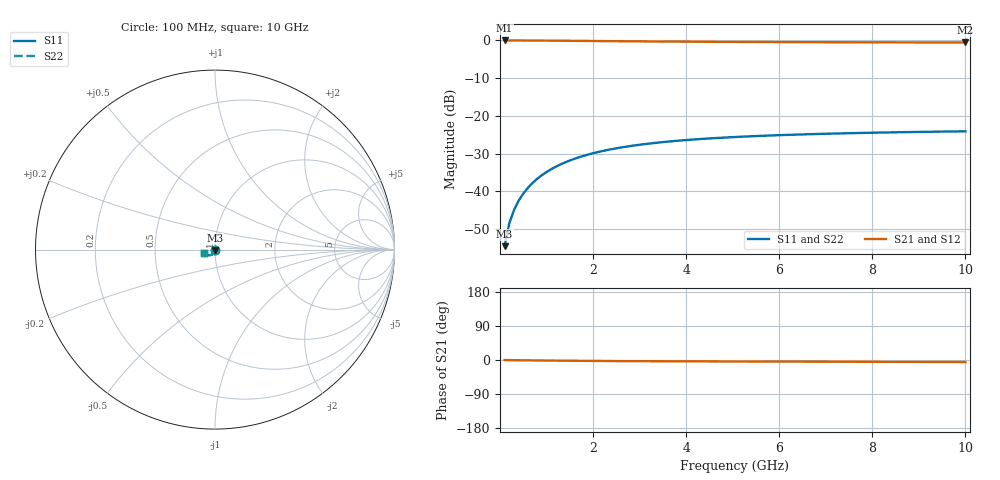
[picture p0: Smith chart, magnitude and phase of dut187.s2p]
! Touchstone file exported from HFSS 2024.1.0
!  File:  C:/UserFiles/LocalFiles/RDL_TSV_Batchsim/temp_TSV1_187_1779384571.aedt
!  Generated:  01:35:00 AM May 22, 2026
!  Design:  TSV1
!  Project:  temp_TSV1_187_1779384571
!  Setup:  Setup1
!  Solution:  Sweep
! Variables:
!  dtsv = 14.64um
!  hbump = 3um
!  htsv = 80.87um
!  lrdl = 252.1521522um
!  p = 40
!  p1 = 51.84um
!  t = 500um
!  trdl = 3um
!  wrdl = 24.89489489um
# GHz S MA R 50.000000
! Terminal data exported
! Port[1] = TSV22_T1
! Port[2] = TSV22_T2
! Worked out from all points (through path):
!   100 points, 100 MHz to 10 GHz, reference 50 ohm
!   highest |S21| = 0.00 dB at 100 MHz (marker M1); lowest = -0.5 dB at 10 GHz (marker M2)
!   lowest |S11| = -54.5 dB at 100 MHz (marker M3), VSWR 1.00, Z = 50 - j0.188 ohm
!   |S11| at or under -10 dB: start of sweep to end of sweep
!   |S22| runs from -54.5 to -24.1 dB; largest |S21 - S12| = 5.1e-15
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0.1  0.001875 -89.3  0.9999 -0.2  0.9999 -0.2  0.001875 -89.3
! Gamma 0 0 0 0
! Port Impedance 50 0 50 0
0.2  0.00375 -92.1  0.9997 -0.3  0.9997 -0.3  0.00375 -92.1
0.3  0.005622 -94.3  0.9993 -0.5  0.9993 -0.5  0.005622 -94.3
0.4  0.007481 -96.3  0.9989 -0.6  0.9989 -0.6  0.007481 -96.3
0.5  0.00932 -98.2  0.9984 -0.7  0.9984 -0.7  0.00932 -98.2
0.6  0.01113 -100.0  0.9978 -0.9  0.9978 -0.9  0.01113 -100.0
0.7  0.01291 -101.8  0.9971 -1.0  0.9971 -1.0  0.01291 -101.8
0.8  0.01465 -103.6  0.9963 -1.2  0.9963 -1.2  0.01465 -103.6
0.9  0.01636 -105.3  0.9954 -1.3  0.9954 -1.3  0.01636 -105.3
1.1  0.01963 -108.6  0.9935 -1.5  0.9935 -1.5  0.01963 -108.6
1.4  0.02419 -113.3  0.9903 -1.9  0.9903 -1.9  0.02419 -113.3
1.6  0.02698 -116.2  0.988 -2.1  0.988 -2.1  0.02698 -116.2
1.8  0.02957 -118.9  0.9857 -2.3  0.9857 -2.3  0.02957 -118.9
2.1  0.0331 -122.7  0.9822 -2.5  0.9822 -2.5  0.0331 -122.7
2.5  0.03719 -127.3  0.9776 -2.8  0.9776 -2.8  0.03719 -127.3
2.9  0.04067 -131.3  0.9734 -3.0  0.9734 -3.0  0.04067 -131.3
3.4  0.0443 -135.7  0.9686 -3.3  0.9686 -3.3  0.0443 -135.7
4.2  0.04884 -141.5  0.9621 -3.6  0.9621 -3.6  0.04884 -141.5
5.1  0.05265 -146.7  0.9564 -3.9  0.9564 -3.9  0.05265 -146.7
6.7  0.05729 -153.8  0.9489 -4.4  0.9489 -4.4  0.05729 -153.8
8.4  0.06046 -159.4  0.9436 -4.9  0.9436 -4.9  0.06046 -159.4
10  0.06248 -163.5  0.94 -5.3  0.94 -5.3  0.06248 -163.5
